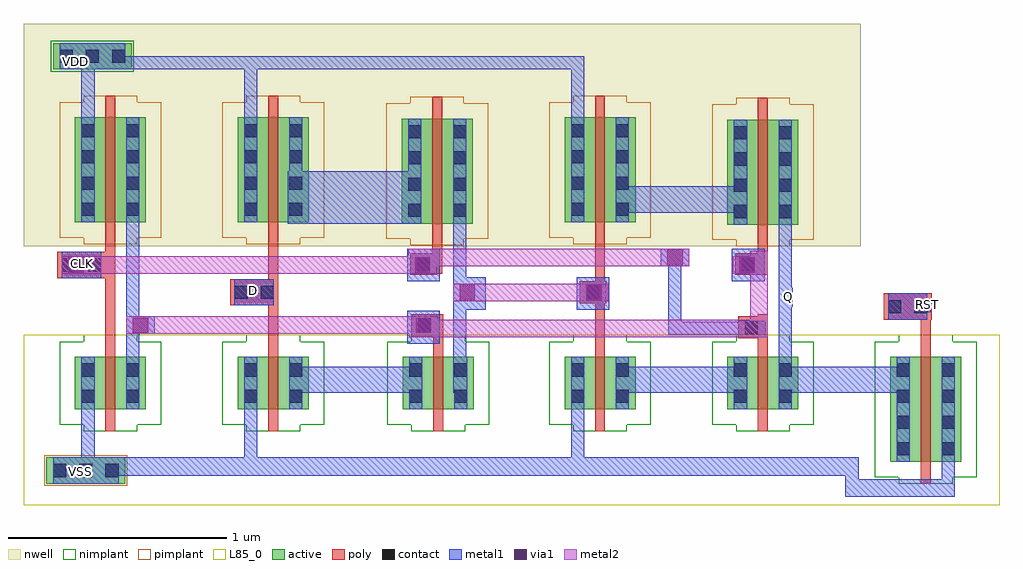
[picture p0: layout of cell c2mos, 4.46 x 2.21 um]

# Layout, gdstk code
from math import pi, radians
import gdstk
lib = gdstk.Library(unit=1e-6, precision=5e-10)
def R(c, l, rs):  # rectangles x0, y0, x1, y1
    for r in rs: c.add(gdstk.rectangle(r[:2], r[2:], *l))
def A(c, l, x, y, w, h, nx, ny, dx, dy):  # array of equal rectangles
    R(c, l, [(x+i*dx, y+j*dy, x+i*dx+w, y+j*dy+h) for i in range(nx) for j in range(ny)])
active = (1, 0)
nwell = (2, 0)
poly = (3, 0)
nimplant = (4, 0)
pimplant = (5, 0)
contact = (6, 0)
metal1 = (7, 0)
via1 = (8, 0)
metal2 = (9, 0)
L85_0 = (85, 0)

pmos1v_cdns_765157006930 = lib.new_cell('pmos1v_CDNS_765157006930')
R(pmos1v_cdns_765157006930, active, [(-0.14,0,0,0.48), (0,0,0.045,0.48), (0.045,0,0.185,0.48)])
R(pmos1v_cdns_765157006930, nwell, [(-0.2,-0.06,0.245,0.54)])
R(pmos1v_cdns_765157006930, poly, [(0,-0.1,0.045,-0.05), (0,-0.05,0.045,0), (0,0,0.045,0.48), (0,0.48,0.045,0.53), (0,0.53,0.045,0.58)])
R(pmos1v_cdns_765157006930, pimplant, [(-0.1,-0.1,0.145,0.58), (-0.21,-0.07,0.255,0.55)])
A(pmos1v_cdns_765157006930, contact, -0.11, 0.03, 0.06, 0.06, 1, 4, 0, 0.12)
A(pmos1v_cdns_765157006930, contact, 0.095, 0.03, 0.06, 0.06, 1, 4, 0, 0.12)
R(pmos1v_cdns_765157006930, metal1, [(-0.11,0,-0.05,0.48), (0.095,0,0.155,0.48)])
pmos1v_cdns_765157006930.add(gdstk.Label('D_drain_1', (0.115,0.24), layer=1, texttype=0))
pmos1v_cdns_765157006930.add(gdstk.Label('S_source_0', (-0.07,0.24), layer=1, texttype=0))
pmos1v_cdns_765157006930.add(gdstk.Label('G_gate_1', (0.0225,-0.075), layer=3, texttype=0))
pmos1v_cdns_765157006930.add(gdstk.Label('G_gate_1', (0.0225,0.555), layer=3, texttype=0))
pmos1v_cdns_765157006930.add(gdstk.Label('D_drain_1', (0.125,0.24), layer=7, texttype=0))
pmos1v_cdns_765157006930.add(gdstk.Label('S_source_0', (-0.08,0.24), layer=7, texttype=0))
pmos1v_cdns_765157006930.add(gdstk.Label('B', (0.0225,0.24), layer=2, texttype=0))

nmos1v_cdns_765157006931 = lib.new_cell('nmos1v_CDNS_765157006931')
R(nmos1v_cdns_765157006931, active, [(-0.14,0,0,0.24), (0,0,0.045,0.24), (0.045,0,0.185,0.24)])
R(nmos1v_cdns_765157006931, poly, [(0,-0.1,0.045,-0.05), (0,-0.05,0.045,0), (0,0,0.045,0.24), (0,0.24,0.045,0.29), (0,0.29,0.045,0.34)])
R(nmos1v_cdns_765157006931, nimplant, [(-0.1,-0.1,0.145,0.34), (-0.21,-0.07,0.255,0.31)])
R(nmos1v_cdns_765157006931, contact, [(-0.11,0.03,-0.05,0.09), (0.095,0.03,0.155,0.09), (-0.11,0.15,-0.05,0.21), (0.095,0.15,0.155,0.21)])
R(nmos1v_cdns_765157006931, metal1, [(-0.11,0,-0.05,0.24), (0.095,0,0.155,0.24)])
R(nmos1v_cdns_765157006931, L85_0, [(-0.2,-0.06,0.245,0.3)])
nmos1v_cdns_765157006931.add(gdstk.Label('D_drain_1', (0.115,0.12), layer=1, texttype=0))
nmos1v_cdns_765157006931.add(gdstk.Label('S_source_0', (-0.07,0.12), layer=1, texttype=0))
nmos1v_cdns_765157006931.add(gdstk.Label('G_gate_1', (0.0225,-0.075), layer=3, texttype=0))
nmos1v_cdns_765157006931.add(gdstk.Label('G_gate_1', (0.0225,0.315), layer=3, texttype=0))
nmos1v_cdns_765157006931.add(gdstk.Label('D_drain_1', (0.125,0.12), layer=7, texttype=0))
nmos1v_cdns_765157006931.add(gdstk.Label('S_source_0', (-0.08,0.12), layer=7, texttype=0))
nmos1v_cdns_765157006931.add(gdstk.Label('B', (0.0225,0.12), layer=85, texttype=0))

nmos1v_cdns_765157006932 = lib.new_cell('nmos1v_CDNS_765157006932')
R(nmos1v_cdns_765157006932, active, [(-0.14,0,0,0.48), (0,0,0.045,0.48), (0.045,0,0.185,0.48)])
R(nmos1v_cdns_765157006932, poly, [(0,-0.1,0.045,-0.05), (0,-0.05,0.045,0), (0,0,0.045,0.48), (0,0.48,0.045,0.53), (0,0.53,0.045,0.58)])
R(nmos1v_cdns_765157006932, nimplant, [(-0.1,-0.1,0.145,0.58), (-0.21,-0.07,0.255,0.55)])
A(nmos1v_cdns_765157006932, contact, -0.11, 0.03, 0.06, 0.06, 1, 4, 0, 0.12)
A(nmos1v_cdns_765157006932, contact, 0.095, 0.03, 0.06, 0.06, 1, 4, 0, 0.12)
R(nmos1v_cdns_765157006932, metal1, [(-0.11,0,-0.05,0.48), (0.095,0,0.155,0.48)])
R(nmos1v_cdns_765157006932, L85_0, [(-0.2,-0.06,0.245,0.54)])
nmos1v_cdns_765157006932.add(gdstk.Label('D_drain_1', (0.115,0.24), layer=1, texttype=0))
nmos1v_cdns_765157006932.add(gdstk.Label('S_source_0', (-0.07,0.24), layer=1, texttype=0))
nmos1v_cdns_765157006932.add(gdstk.Label('G_gate_1', (0.0225,-0.075), layer=3, texttype=0))
nmos1v_cdns_765157006932.add(gdstk.Label('G_gate_1', (0.0225,0.555), layer=3, texttype=0))
nmos1v_cdns_765157006932.add(gdstk.Label('D_drain_1', (0.125,0.24), layer=7, texttype=0))
nmos1v_cdns_765157006932.add(gdstk.Label('S_source_0', (-0.08,0.24), layer=7, texttype=0))
nmos1v_cdns_765157006932.add(gdstk.Label('B', (0.0225,0.24), layer=85, texttype=0))

m2_m1_cdns_765157006930 = lib.new_cell('M2_M1_CDNS_765157006930')
R(m2_m1_cdns_765157006930, metal1, [(-0.04,-0.065,0.04,0.065)])
R(m2_m1_cdns_765157006930, via1, [(-0.035,-0.035,0.035,0.035)])
R(m2_m1_cdns_765157006930, metal2, [(-0.04,-0.065,0.04,0.065)])

m1_po_cdns_765157006931 = lib.new_cell('M1_PO_CDNS_765157006931')
R(m1_po_cdns_765157006931, poly, [(-0.05,-0.06,0.05,0.06)])
R(m1_po_cdns_765157006931, contact, [(-0.03,-0.03,0.03,0.03)])
R(m1_po_cdns_765157006931, metal1, [(-0.03,-0.06,0.03,0.06)])

m1_po_cdns_765157006932 = lib.new_cell('M1_PO_CDNS_765157006932')
R(m1_po_cdns_765157006932, poly, [(-0.11,-0.06,0.11,0.06)])
R(m1_po_cdns_765157006932, contact, [(-0.09,-0.03,-0.03,0.03), (0.03,-0.03,0.09,0.03)])
R(m1_po_cdns_765157006932, metal1, [(-0.09,-0.06,0.09,0.06)])

m1_psub_cdns_76515700693 = lib.new_cell('M1_PSUB_CDNS_765157006933')
R(m1_psub_cdns_76515700693, active, [(-0.18,-0.06,0.18,0.06)])
R(m1_psub_cdns_76515700693, pimplant, [(-0.19,-0.07,0.19,0.07)])
A(m1_psub_cdns_76515700693, contact, -0.15, -0.03, 0.06, 0.06, 3, 1, 0.12, 0)
R(m1_psub_cdns_76515700693, metal1, [(-0.15,-0.06,0.15,0.06)])
R(m1_psub_cdns_76515700693, L85_0, [(-0.27,-0.15,0.27,0.15)])

m1_nwell_cdns_7651570069 = lib.new_cell('M1_NWELL_CDNS_765157006934')
R(m1_nwell_cdns_7651570069, active, [(-0.18,-0.06,0.18,0.06)])
R(m1_nwell_cdns_7651570069, nwell, [(-0.27,-0.15,0.27,0.15)])
R(m1_nwell_cdns_7651570069, nimplant, [(-0.19,-0.07,0.19,0.07)])
A(m1_nwell_cdns_7651570069, contact, -0.15, -0.03, 0.06, 0.06, 3, 1, 0.12, 0)
R(m1_nwell_cdns_7651570069, metal1, [(-0.15,-0.06,0.15,0.06)])

c2mos = lib.new_cell('c2mos')
R(c2mos, nwell, [(0,1.07,3.83,2.09)])
R(c2mos, poly, [(4.105,0.57,4.15,0.83)])
R(c2mos, metal1, [(3.76,-0.075,3.82,0.105), (3.76,-0.075,4.26,0.005), (4.2,-0.075,4.26,0.085), (0.14,-0.015,0.39,0.09), (0.265,0.02,2.565,0.105), (2.505,0.02,3.82,0.105), (0.265,0.04,0.325,0.355), (1.755,0.625,1.905,0.775), (4.105,0.77,4.15,0.83), (1.965,0.78,2.115,0.93), (2.53,0.78,2.68,0.93), (3.46,0.795,3.52,0.88), (1.005,0.825,1.1,0.915), (1.755,0.91,1.905,1.06), (3.24,0.91,3.39,1.06), (0.18,0.95,0.325,1.025), (0.31,0.985,0.33,1), (0.165,1.895,0.43,1.95)])
R(c2mos, L85_0, [(0,-0.115,4.465,0.665)])
c2mos.add(gdstk.FlexPath([(3.3825,0.99),(3.3825,1.1)], 0.045, ends=(0.05, 0), simple_path=True, layer=3, datatype=0))  # poly
c2mos.add(gdstk.FlexPath([(3.3825,0.65),(3.3825,0.76)], 0.045, ends=(0.05, 0), simple_path=True, layer=3, datatype=0))  # poly
c2mos.add(gdstk.FlexPath([(3.315,0.99),(3.3525,0.99)], 0.1, ends=(0, 0.0225), simple_path=True, layer=3, datatype=0))  # poly
c2mos.add(gdstk.FlexPath([(2.6375,1.52),(2.6375,0.3)], 0.045, ends="flush", simple_path=True, layer=3, datatype=0))  # poly
c2mos.add(gdstk.FlexPath([(1.8975,0.57),(1.8975,0.76)], 0.045, ends="flush", simple_path=True, layer=3, datatype=0))  # poly
c2mos.add(gdstk.FlexPath([(1.8925,1.175),(1.8925,0.945)], 0.045, ends="flush", simple_path=True, layer=3, datatype=0))  # poly
c2mos.add(gdstk.FlexPath([(1.1425,0.35),(1.1425,1.52)], 0.045, ends="flush", simple_path=True, layer=3, datatype=0))  # poly
c2mos.add(gdstk.FlexPath([(0.3975,0.47),(0.3975,1.11)], 0.045, ends="flush", simple_path=True, layer=3, datatype=0))  # poly
c2mos.add(gdstk.FlexPath([(2.535,1.91),(2.565,1.91)], 0.06, ends=(0.03, 0), simple_path=True, layer=7, datatype=0))  # metal1
c2mos.add(gdstk.FlexPath([(4.23,0.4),(4.23,0.15)], 0.06, ends="flush", simple_path=True, layer=7, datatype=0))  # metal1
c2mos.add(gdstk.FlexPath([(3.485,0.46),(4.05,0.46)], 0.12, ends=(0.03, 0), simple_path=True, layer=7, datatype=0))  # metal1
c2mos.add(gdstk.FlexPath([(3.455,0.46),(3.485,0.46)], 0.12, ends=(0, 0.03), simple_path=True, layer=7, datatype=0))  # metal1
c2mos.add(gdstk.FlexPath([(3.485,0.46),(3.485,0.405)], 0.06, ends=(0.06, 0), simple_path=True, layer=7, datatype=0))  # metal1
c2mos.add(gdstk.FlexPath([(3.485,1.41),(3.485,0.46)], 0.06, ends=(0, 0.06), simple_path=True, layer=7, datatype=0))  # metal1
c2mos.add(gdstk.FlexPath([(2.71,0.46),(3.31,0.46)], 0.12, ends="flush", simple_path=True, layer=7, datatype=0))  # metal1
c2mos.add(gdstk.FlexPath([(2.71,1.285),(3.31,1.285)], 0.12, ends="flush", simple_path=True, layer=7, datatype=0))  # metal1
c2mos.add(gdstk.FlexPath([(3.395,0.695),(2.98,0.695)], 0.06, ends=(0, 0.03), simple_path=True, layer=7, datatype=0))  # metal1
c2mos.add(gdstk.FlexPath([(2.98,0.695),(2.98,1.055)], 0.06, ends=(0.03, 0), simple_path=True, layer=7, datatype=0))  # metal1
c2mos.add(gdstk.FlexPath([(2.535,0.52),(2.535,0.05)], 0.06, ends=(0, 0.03), simple_path=True, layer=7, datatype=0))  # metal1
c2mos.add(gdstk.FlexPath([(2.535,1.18),(2.535,1.91)], 0.06, ends=(0, 0.03), simple_path=True, layer=7, datatype=0))  # metal1
c2mos.add(gdstk.FlexPath([(1.995,0.86),(1.995,0.4)], 0.06, ends=(0.03, 0), simple_path=True, layer=7, datatype=0))  # metal1
c2mos.add(gdstk.FlexPath([(1.995,1.415),(1.995,0.86)], 0.06, ends=(0, 0.03), simple_path=True, layer=7, datatype=0))  # metal1
c2mos.add(gdstk.FlexPath([(1.22,0.46),(1.82,0.46)], 0.12, ends="flush", simple_path=True, layer=7, datatype=0))  # metal1
c2mos.add(gdstk.FlexPath([(1.21,1.295),(1.81,1.295)], 0.24, ends="flush", simple_path=True, layer=7, datatype=0))  # metal1
c2mos.add(gdstk.FlexPath([(1.04,0.05),(1.04,0.52)], 0.06, ends=(0.03, 0), simple_path=True, layer=7, datatype=0))  # metal1
c2mos.add(gdstk.FlexPath([(1.04,1.91),(1.04,1.18)], 0.06, ends=(0.03, 0), simple_path=True, layer=7, datatype=0))  # metal1
c2mos.add(gdstk.FlexPath([(0.5,0.34),(0.5,1.26)], 0.06, ends="flush", simple_path=True, layer=7, datatype=0))  # metal1
c2mos.add(gdstk.FlexPath([(1.04,1.91),(2.535,1.91)], 0.06, ends="extended", simple_path=True, layer=7, datatype=0))  # metal1
c2mos.add(gdstk.FlexPath([(0.295,1.91),(1.04,1.91)], 0.06, ends="extended", simple_path=True, layer=7, datatype=0))  # metal1
c2mos.add(gdstk.FlexPath([(0.295,1.32),(0.295,1.91)], 0.06, ends=(0, 0.03), simple_path=True, layer=7, datatype=0))  # metal1
c2mos.add(gdstk.FlexPath([(2.535,1.91),(2.535,1.94)], 0.06, ends=(0.03, 0), simple_path=True, layer=7, datatype=0))  # metal1
c2mos.add(gdstk.FlexPath([(1.76,1.02),(3.045,1.02)], 0.08, ends="flush", simple_path=True, layer=9, datatype=0))  # metal2
c2mos.add(gdstk.FlexPath([(1.81,0.985),(0.24,0.985)], 0.08, ends="flush", simple_path=True, layer=9, datatype=0))  # metal2
c2mos.add(gdstk.FlexPath([(2.03,0.86),(2.665,0.86)], 0.08, ends="flush", simple_path=True, layer=9, datatype=0))  # metal2
c2mos.add(gdstk.FlexPath([(0.535,0.71),(1.895,0.71)], 0.08, ends="flush", simple_path=True, layer=9, datatype=0))  # metal2
c2mos.add(gdstk.FlexPath([(3.365,0.695),(3.365,1.05)], 0.08, ends=(0.04, 0), simple_path=True, layer=9, datatype=0))  # metal2
c2mos.add(gdstk.FlexPath([(1.765,0.695),(3.365,0.695)], 0.08, ends=(0, 0.04), simple_path=True, layer=9, datatype=0))  # metal2
c2mos.add(gdstk.Reference(pmos1v_cdns_765157006930, (3.36,1.17)))
c2mos.add(gdstk.Reference(pmos1v_cdns_765157006930, (2.615,1.18)))
c2mos.add(gdstk.Reference(pmos1v_cdns_765157006930, (1.87,1.175)))
c2mos.add(gdstk.Reference(pmos1v_cdns_765157006930, (1.12,1.18)))
c2mos.add(gdstk.Reference(pmos1v_cdns_765157006930, (0.375,1.18)))
c2mos.add(gdstk.Reference(nmos1v_cdns_765157006931, (1.12,0.325)))
c2mos.add(gdstk.Reference(nmos1v_cdns_765157006931, (1.875,0.325)))
c2mos.add(gdstk.Reference(nmos1v_cdns_765157006931, (2.615,0.325)))
c2mos.add(gdstk.Reference(nmos1v_cdns_765157006931, (3.36,0.325)))
c2mos.add(gdstk.Reference(nmos1v_cdns_765157006931, (0.375,0.325)))
c2mos.add(gdstk.Reference(nmos1v_cdns_765157006932, (4.105,0.085)))
c2mos.add(gdstk.Reference(m2_m1_cdns_765157006930, (2.98,1.02), rotation=pi/2))
c2mos.add(gdstk.Reference(m2_m1_cdns_765157006930, (0.24,0.985), rotation=pi/2))
c2mos.add(gdstk.Reference(m2_m1_cdns_765157006930, (1.825,0.985), rotation=pi/2))
c2mos.add(gdstk.Reference(m2_m1_cdns_765157006930, (3.31,0.985), rotation=pi/2))
c2mos.add(gdstk.Reference(m2_m1_cdns_765157006930, (2.61,0.86), rotation=pi/2))
c2mos.add(gdstk.Reference(m2_m1_cdns_765157006930, (2.03,0.86), rotation=pi/2))
c2mos.add(gdstk.Reference(m2_m1_cdns_765157006930, (0.535,0.71), rotation=pi/2))
c2mos.add(gdstk.Reference(m2_m1_cdns_765157006930, (1.83,0.71), rotation=pi/2))
c2mos.add(gdstk.Reference(m2_m1_cdns_765157006930, (1.83,0.71), rotation=pi/2))
c2mos.add(gdstk.Reference(m1_po_cdns_765157006931, (1.83,0.99), rotation=pi/2))
c2mos.add(gdstk.Reference(m1_po_cdns_765157006931, (3.315,0.99), rotation=pi/2))
c2mos.add(gdstk.Reference(m1_po_cdns_765157006931, (2.605,0.86), rotation=pi/2))
c2mos.add(gdstk.Reference(m1_po_cdns_765157006931, (1.835,0.71), rotation=pi/2))
c2mos.add(gdstk.Reference(m1_po_cdns_765157006931, (3.33,0.7), rotation=pi/2))
c2mos.add(gdstk.Reference(m1_po_cdns_765157006932, (0.265,0.985)))
c2mos.add(gdstk.Reference(m1_po_cdns_765157006932, (1.055,0.86)))
c2mos.add(gdstk.Reference(m1_po_cdns_765157006932, (4.045,0.795)))
c2mos.add(gdstk.Reference(m1_psub_cdns_76515700693, (0.285,0.045)))
c2mos.add(gdstk.Reference(m1_nwell_cdns_7651570069, (0.315,1.94)))
c2mos.add(gdstk.Label('Q', (3.5,0.84), layer=7, texttype=0))
c2mos.add(gdstk.Label('RST', (4.135,0.805), layer=7, texttype=0))
c2mos.add(gdstk.Label('CLK', (0.27,0.99), layer=7, texttype=0))
c2mos.add(gdstk.Label('VSS', (0.26,0.04), layer=7, texttype=0))
c2mos.add(gdstk.Label('VDD', (0.24,1.915), layer=7, texttype=0))
c2mos.add(gdstk.Label('RST', (4.1275,0.8), layer=7, texttype=0))
c2mos.add(gdstk.Label('Q', (3.49,0.8375), layer=7, texttype=0))
c2mos.add(gdstk.Label('D', (1.0525,0.87), layer=7, texttype=0))
c2mos.add(gdstk.Label('VDD', (0.2975,1.9225), layer=7, texttype=0))
c2mos.add(gdstk.Label('VSS', (0.265,0.0375), layer=7, texttype=0))
c2mos.add(gdstk.Label('CLK', (0.2525,0.9875), layer=7, texttype=0))
c2mos.add(gdstk.Label('D', (1.06,0.865), layer=63, texttype=0))

lib.write_gds('c2mos.gds')
